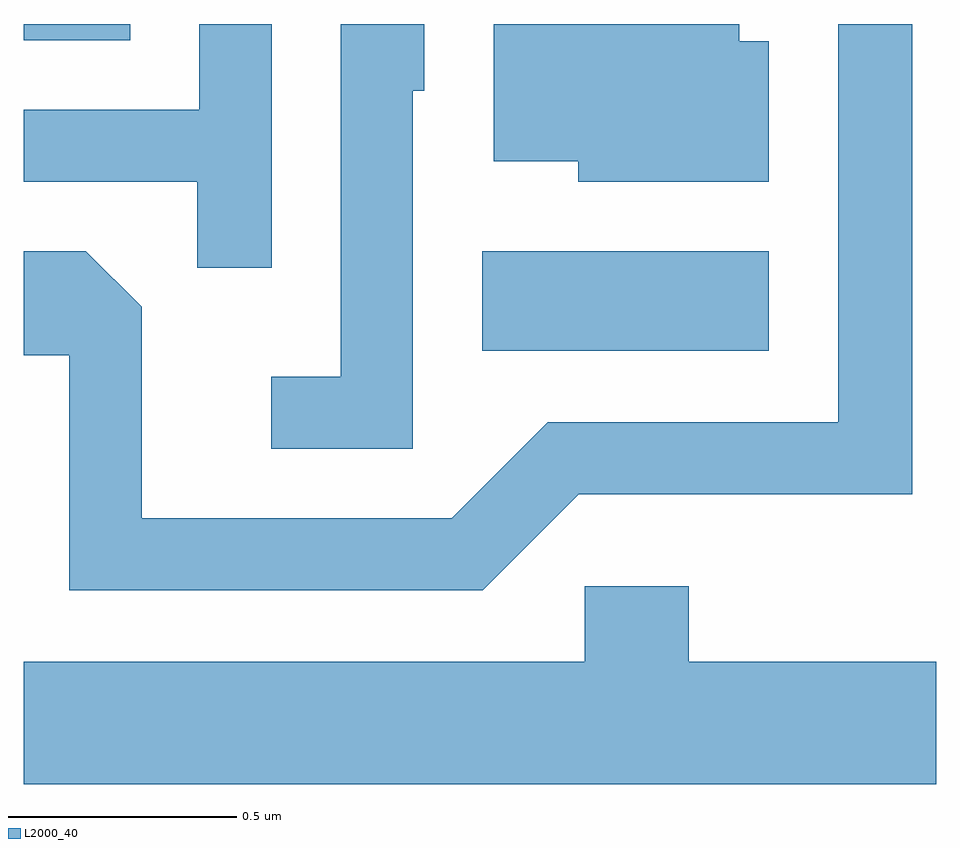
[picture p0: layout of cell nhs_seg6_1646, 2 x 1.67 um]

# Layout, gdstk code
import gdstk
lib = gdstk.Library(unit=1e-6, precision=1e-09)
def R(c, l, rs):  # rectangles x0, y0, x1, y1
    for r in rs: c.add(gdstk.rectangle(r[:2], r[2:], *l))
def P(c, l, *ps):  # polygons
    for p in ps: c.add(gdstk.Polygon(p, *l))
L2000_40 = (2000, 40)

nhs_seg6_1646 = lib.new_cell('nhs_seg6_1646')
R(nhs_seg6_1646, L2000_40, [(198.616,1535.446,199.244,1535.664), (197.611,1536.126,197.844,1536.162)])
P(nhs_seg6_1646, L2000_40, [(198.154,1536.162),(197.996,1536.162),(197.996,1535.974),(197.611,1535.974),(197.611,1535.816),(197.991,1535.816),(197.991,1535.628),(198.154,1535.628)],
  [(199.244,1536.124),(199.179,1536.124),(199.179,1536.162),(198.641,1536.162),(198.641,1535.861),(198.826,1535.861),(198.826,1535.816),(199.244,1535.816)],
  [(198.464,1536.016),(198.489,1536.016),(198.489,1536.162),(198.306,1536.162),(198.306,1535.389),(198.153,1535.389),(198.153,1535.231),(198.464,1535.231)],
  [(198.827,1535.131),(199.559,1535.131),(199.559,1536.162),(199.396,1536.162),(199.396,1535.289),(198.759,1535.289),(198.549,1535.079),(197.869,1535.079),(197.869,1535.542),(197.747,1535.664),(197.611,1535.664),(197.611,1535.436),(197.711,1535.436),(197.711,1534.921),(198.617,1534.921)],
  [(199.611,1534.764),(199.069,1534.764),(199.069,1534.929),(198.841,1534.929),(198.841,1534.764),(197.611,1534.764),(197.611,1534.496),(199.611,1534.496)])

lib.write_gds('nhs_seg6_1646.gds')
